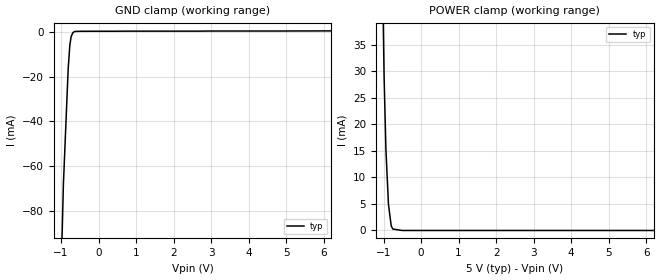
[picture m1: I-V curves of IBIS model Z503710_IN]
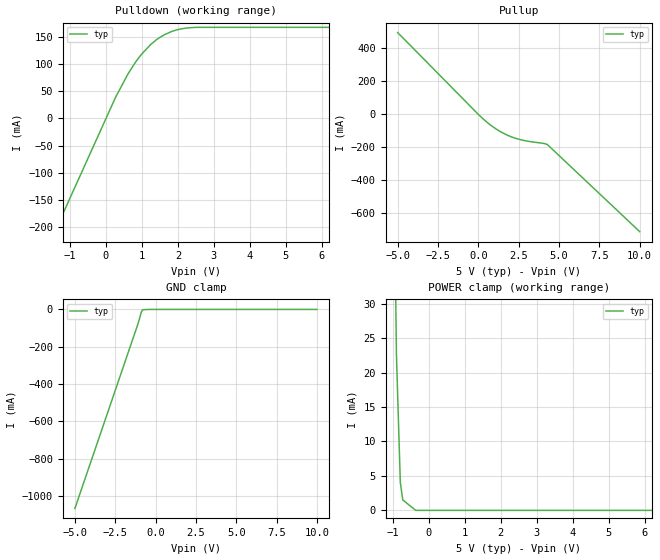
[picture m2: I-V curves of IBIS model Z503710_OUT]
| YOU ARE ONLY AUTHORIZED TO USE THIS SOFTWARE
| ACCORDING TO LICENSOR'S LICENSE RESTRICTIONS.
[IBIS Ver] 3.1
[File Name] mc74ac08n_5.ibs
[File Rev] 2.0
[Source] Measured and created by ICX Technology
[Date] Friday 7/14/00 9:07:58 AM
[Copyright]
| (C) COPYRIGHT 1993-2000
| MENTOR GRAPHICS CORPORATION
| ICX STANDARD LIBRARY, ICX PROJECT MODELING,
| ICX CUSTOM MODELING, ICX VENDOR MODEL
| ALL RIGHTS RESERVED.
| THE FOLLOWING ARE TRADEMARKS OR SERVICE MARKS OF
| MENTOR GRAPHICS CORPORATION:ICX (R), ICX STANDARD
| LIBRARY(R), ICX PROJECT MODELING(R), ICX CUSTOM
| MODELING(R), qualityIBIS(TM), MODELVIEWER(TM),
| AND MODELEDITOR(TM)
| ALL COPIES OF SOFTWARE, INCLUDING BUT NOT LIMITED TO
| ANY MODIFICATIONS, ENHANCEMENTS OR DERIVATIVE WORKS,
| MUST CONTAIN ALL MENTOR GRAPHICS CORPORATION'S
| NOTICES AND LEGENDS, INCLUDING THOSE EMBEDDED IN
| SOFTWARE AND THOSE AFFIXED TO SOFTWARE MEDIUM
| AND CONTAINER, AS RECEIVED FROM MENTOR GRAPHICS
| CORPORATION.
|  ZAP Model Builder 2.7
[Component] MC74AC08N_5
[Manufacturer] OnSemiconductor
[Package]
| variable   typ   min   max
R_pkg  .21ohms NA NA
L_pkg  4.543nH NA NA
C_pkg  1.059pF NA NA
[Pin] signal_name  model_name  R_pin  L_pin C_pin
1 A Z503710_IN .22 6.757n 1.432p
2 B Z503710_IN .212 4.757n 1.142p
3 Y Z503710_OUT .204 3.257n .852p
4 A Z503710_IN .196 2.257n .562p
5 B Z503710_IN .204 3.257n .852p
6 Y Z503710_OUT .212 4.757n 1.142p
7 GND GND .22 6.757n 1.432p
8 Y Z503710_OUT .22 6.757n 1.432p
9 A Z503710_IN .212 4.757n 1.142p
10 B Z503710_IN .204 3.257n .852p
11 Y Z503710_OUT .196 2.257n .562p
12 A Z503710_IN .204 3.257n .852p
13 B Z503710_IN .212 4.757n 1.142p
14 VCC POWER .22 6.757n 1.432p
| Models and submodels in the file (2): Z503710_IN (Input), Z503710_OUT (Output)
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| (C) COPYRIGHT 1993-2000
| MENTOR GRAPHICS CORPORATION
| ICX STANDARD LIBRARY, ICX PROJECT MODELING,
| ICX CUSTOM MODELING, ICX VENDOR MODEL
| ALL RIGHTS RESERVED.
| THE FOLLOWING ARE TRADEMARKS OR SERVICE MARKS OF
| MENTOR GRAPHICS CORPORATION:ICX (R), ICX STANDARD
| LIBRARY(R), ICX PROJECT MODELING(R), ICX CUSTOM
| MODELING(R), qualityIBIS(TM), MODELVIEWER(TM),
| AND MODELEDITOR(TM)
| ALL COPIES OF SOFTWARE, INCLUDING BUT NOT LIMITED TO
| ANY MODIFICATIONS, ENHANCEMENTS OR DERIVATIVE WORKS,
| MUST CONTAIN ALL MENTOR GRAPHICS CORPORATION'S
| NOTICES AND LEGENDS, INCLUDING THOSE EMBEDDED IN
| SOFTWARE AND THOSE AFFIXED TO SOFTWARE MEDIUM
| AND CONTAINER, AS RECEIVED FROM MENTOR GRAPHICS
| CORPORATION.
| Model Application Version 1.89 2/18/99.
[Model] Z503710_IN
Model_type Input
Vinl = 1.500V
Vinh = 3.500V
C_comp 4.000pF NA NA
| variable typ   min   max
[Voltage Range] 5.000V NA NA
[GND Clamp Reference] 0.000V NA NA
[POWER Clamp Reference] 5.000V NA NA
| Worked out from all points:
|   GND clamp passes 1 mA (typ) near -0.70 V on its own axis
|   POWER clamp passes 1 mA (typ) near -0.80 V on its own axis
[GND Clamp]
-5V       -2.399A    NA         NA
-1.133V   -196.5mA   NA         NA
-937.1mV  -68.11mA   NA         NA
-810.5mV  -16.84mA   NA         NA
-765.5mV  -5.958mA   NA         NA
-730.6mV  -2.217mA   NA         NA
-687.1mV  -552.1uA   NA         NA
-648.5mV  -7.108uA   NA         NA
10V       494.7uA    NA         NA
[POWER Clamp]
-5V       2.767A     NA         NA
-1.25V    171.4mA    NA         NA
-1.118V   90.54mA    NA         NA
-985mV    29mA       NA         NA
-937mV    15.33mA    NA         NA
-869mV    4.938mA    NA         NA
-795mV    847.5uA    NA         NA
-752mV    267.8uA    NA         NA
-501.3mV  0A         NA         NA
10V       0A         NA         NA
| (C) COPYRIGHT 1993-2000
| MENTOR GRAPHICS CORPORATION
| ICX STANDARD LIBRARY, ICX PROJECT MODELING,
| ICX CUSTOM MODELING, ICX VENDOR MODEL
| ALL RIGHTS RESERVED.
| THE FOLLOWING ARE TRADEMARKS OR SERVICE MARKS OF
| MENTOR GRAPHICS CORPORATION:ICX (R), ICX STANDARD
| LIBRARY(R), ICX PROJECT MODELING(R), ICX CUSTOM
| MODELING(R), qualityIBIS(TM), MODELVIEWER(TM),
| AND MODELEDITOR(TM)
| ALL COPIES OF SOFTWARE, INCLUDING BUT NOT LIMITED TO
| ANY MODIFICATIONS, ENHANCEMENTS OR DERIVATIVE WORKS,
| MUST CONTAIN ALL MENTOR GRAPHICS CORPORATION'S
| NOTICES AND LEGENDS, INCLUDING THOSE EMBEDDED IN
| SOFTWARE AND THOSE AFFIXED TO SOFTWARE MEDIUM
| AND CONTAINER, AS RECEIVED FROM MENTOR GRAPHICS
| CORPORATION.
| Model Application Version 1.89 2/18/99.
[Model] Z503710_OUT
Model_type Output
Vref=0.000V
Rref=500.0ohms
Cref=50.00pF
Vmeas=2.500V
C_comp 8.000pF NA NA
| variable typ   min   max
[Voltage Range] 5.000V NA NA
[POWER Clamp Reference] 5.000V NA NA
[Pullup Reference] 5.000V NA NA
[Pulldown Reference] 0.000V NA NA
[GND Clamp Reference] 0.000V NA NA
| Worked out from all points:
|   slope of the pulldown table from 0 to 0.75 V, typ, clamps not added: 7.8 ohm
|   slope of the pullup table from 0 to 0.75 V, typ, clamps not added: 11.7 ohm
[GND Clamp]
-5V       -1.066A    NA         NA
-1.09V    -77.44mA   NA         NA
-876.5mV  -13.12mA   NA         NA
-800.7mV  -1.595mA   NA         NA
-400.4mV  0A         NA         NA
10V       0A         NA         NA
[Pulldown]
-5V       -730.6mA   NA         NA
264.1mV   38.32mA    NA         NA
615.9mV   82.11mA    NA         NA
830.1mV   104.1mA    NA         NA
976.9mV   116.9mA    NA         NA
1.24V     135.4mA    NA         NA
1.406V    144.6mA    NA         NA
1.616V    153.3mA    NA         NA
1.81V     159.1mA    NA         NA
2.069V    164.1mA    NA         NA
2.483V    167.1mA    NA         NA
10V       167.2mA    NA         NA
[Pullup]
-5V       492.4mA    NA         NA
34mV      -6.023mA   NA         NA
619mV     -56.66mA   NA         NA
1.382V    -107.9mA   NA         NA
2.07V     -139.3mA   NA         NA
2.748V    -158.8mA   NA         NA
4.281V    -185.4mA   NA         NA
10V       -711.7mA   NA         NA
[POWER Clamp]
-5V       2.26A      NA         NA
-1.064V   92.82mA    NA         NA
-898mV    22.65mA    NA         NA
-790mV    4.044mA    NA         NA
-721mV    1.515mA    NA         NA
-360.5mV  0A         NA         NA
10V       0A         NA         NA
[Ramp]
| variable typ min max
dV/dt_r 2.953/680.0p NA NA
dV/dt_f 2.953/767.6p NA NA
R_load = 500.0Ohms
